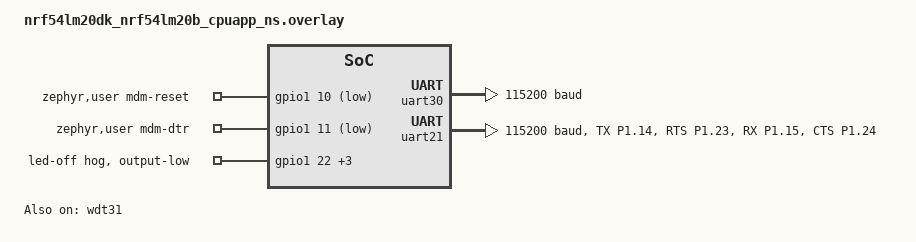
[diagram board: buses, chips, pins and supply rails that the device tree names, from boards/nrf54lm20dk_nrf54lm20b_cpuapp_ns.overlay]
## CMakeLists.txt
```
#
# Copyright (c) 2026 Nordic Semiconductor ASA
#
# SPDX-License-Identifier: LicenseRef-Nordic-5-Clause
#

cmake_minimum_required(VERSION 3.20.0)

find_package(Zephyr REQUIRED HINTS $ENV{ZEPHYR_BASE})
project("Serial Modem Host - 91m1 (AT)")

set(SMHA_LIB_DIR ${CMAKE_CURRENT_SOURCE_DIR}/../../lib)

zephyr_include_directories(
	${SMHA_LIB_DIR}/include
	${CMAKE_CURRENT_SOURCE_DIR}/src
)

target_sources(app PRIVATE
	src/main.c
	src/modem_reset.c
	src/modules/network/network.c
	src/modules/modem_at/modem_at.c
)

target_sources_ifdef(CONFIG_SHELL app PRIVATE src/modules/network/network_shell.c)
target_sources_ifdef(CONFIG_APP_CLOUD app PRIVATE src/modules/cloud/cloud.c)
target_sources_ifdef(CONFIG_APP_LOCATION app PRIVATE src/modules/location/location.c)
target_sources_ifdef(CONFIG_APP_MODEM_POWER app PRIVATE src/modules/modem_power/modem_power.c)
target_sources_ifdef(CONFIG_APP_MODEM_AT_SHELL app PRIVATE src/modules/modem_at/modem_at_shell.c)
target_sources_ifdef(CONFIG_APP_BUTTONS app PRIVATE src/modules/buttons/buttons.c)
target_sources_ifdef(CONFIG_APP_BUTTONS_SHELL app PRIVATE src/modules/buttons/buttons_shell.c)
```

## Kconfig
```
#
# Copyright (c) 2026 Nordic Semiconductor ASA
#
# SPDX-License-Identifier: LicenseRef-Nordic-5-Clause
#

menu "Serial Modem Host 91m1 (AT)"

rsource "src/Kconfig.main"
rsource "src/modules/network/Kconfig.network"
rsource "src/modules/modem_at/Kconfig.modem_at"
rsource "src/modules/modem_power/Kconfig.modem_power"
rsource "src/modules/cloud/Kconfig.cloud"
rsource "src/modules/location/Kconfig.location"
rsource "src/modules/buttons/Kconfig.buttons"

endmenu

menu "Zephyr Kernel"
source "Kconfig.zephyr"
endmenu
```

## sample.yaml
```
sample:
  name: Serial Modem Host 91m1 AT
  description: AT host application for an nRF91 Series Serial Modem.
tests:
  serial_modem_host.applications.91m1_at:
    sysbuild: true
    build_only: true
    integration_platforms:
      - nrf54lm20dk/nrf54lm20b/cpuapp/ns
    platform_allow:
      - nrf54lm20dk/nrf54lm20b/cpuapp/ns
    tags:
      - ci_build
```

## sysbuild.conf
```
#
# Copyright (c) 2026 Nordic Semiconductor ASA
#
# SPDX-License-Identifier: LicenseRef-Nordic-5-Clause
#

SB_CONFIG_BOOTLOADER_MCUBOOT=n
SB_CONFIG_MERGED_HEX_FILES=y
```

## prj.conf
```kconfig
#
# Copyright (c) 2026 Nordic Semiconductor ASA
#
# SPDX-License-Identifier: LicenseRef-Nordic-5-Clause
#

# Application identity
CONFIG_NCS_APPLICATION_BOOT_BANNER_STRING="Serial Modem Host 91m1 (AT)"

# Application modules
CONFIG_APP_NETWORK=y
CONFIG_APP_MODEM_AT=y
CONFIG_APP_MODEM_POWER=y
CONFIG_APP_CLOUD=y
CONFIG_APP_LOCATION=y
CONFIG_APP_BUTTONS=y
CONFIG_APP_MAIN_LOG_LEVEL_DBG=y
CONFIG_APP_NETWORK_LOG_LEVEL_DBG=y
CONFIG_APP_MODEM_AT_LOG_LEVEL_ERR=y
CONFIG_APP_CLOUD_LOG_LEVEL_DBG=y
CONFIG_APP_LOCATION_LOG_LEVEL_DBG=y
CONFIG_APP_BUTTONS_LOG_LEVEL_DBG=y

# System / RTOS
CONFIG_NCS_SAMPLES_DEFAULTS=y
CONFIG_RESET_ON_FATAL_ERROR=n
CONFIG_MAIN_STACK_SIZE=4096
CONFIG_SYSTEM_WORKQUEUE_STACK_SIZE=3072
CONFIG_ZBUS=y
CONFIG_ZBUS_MSG_SUBSCRIBER=y
# Each publish holds one net_buf per message subscriber until it is dequeued. Provisioning
# blocks the cloud thread for minutes while LTE goes down and up, so leave room for the backlog.
CONFIG_ZBUS_MSG_SUBSCRIBER_NET_BUF_POOL_SIZE=64
# Name channels and observers so a delivery failure says which ones were involved.
CONFIG_ZBUS_CHANNEL_NAME=y
CONFIG_ZBUS_OBSERVER_NAME=y
CONFIG_SMF=y
CONFIG_SMF_ANCESTOR_SUPPORT=y
CONFIG_SMF_INITIAL_TRANSITION=y
CONFIG_HEAP_MEM_POOL_SIZE=8192

# Watchdog
CONFIG_TASK_WDT=y
CONFIG_WATCHDOG=y
CONFIG_TASK_WDT_MIN_TIMEOUT=10000

# Logging
CONFIG_LOG=y
CONFIG_LOG_MODE_DEFERRED=y
CONFIG_LOG_BUFFER_SIZE=4096

# Shell
CONFIG_SHELL=y
CONFIG_SHELL_STACK_SIZE=4096
# Off so shell wildcard expansion does not mangle `?`/`*` in AT commands.
CONFIG_SHELL_WILDCARD=n

# Serial Modem link: AT commands over UART and no host IP stack, since with PPP up the
# Serial Modem could not use the default PDN for its own nRF Cloud client.
CONFIG_MODEM_MODULES_LOG_LEVEL_INF=y

# Board peripherals
CONFIG_GPIO=y
```

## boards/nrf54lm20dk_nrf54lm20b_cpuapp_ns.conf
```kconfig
#
# Copyright (c) 2026 Nordic Semiconductor ASA
#
# SPDX-License-Identifier: LicenseRef-Nordic-5-Clause
#

CONFIG_UART_ASYNC_API=y
CONFIG_MODEM_BACKEND_UART_ASYNC_HWFC=y

# Shell/console on uart30 uses interrupt-driven UART; modem on uart21 is async-only.
CONFIG_UART_30_INTERRUPT_DRIVEN=y
CONFIG_UART_21_INTERRUPT_DRIVEN=n
CONFIG_UART_21_ASYNC=y

# Default TF-M configuration
CONFIG_TFM_LOG_LEVEL_SILENCE=y
CONFIG_TFM_SFN=y
CONFIG_TFM_IPC=n
CONFIG_TFM_PSA_FRAMEWORK_HAS_MM_IOVEC=y
CONFIG_TFM_ITS_ENCRYPTED=n
```

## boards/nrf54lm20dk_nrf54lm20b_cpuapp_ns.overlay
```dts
/*
 * Copyright (c) 2026 Nordic Semiconductor ASA
 *
 * SPDX-License-Identifier: LicenseRef-Nordic-5-Clause
 *
 * nRF54LM20B DK + nRF9151 DK.
 *
 * The Serial Modem link uses uart21 on P1.14–P1.15 (TX/RX, P2 connector) and
 * P1.23–P1.24 (RTS/CTS, P3 connector). DTR/reset use P1.11/P1.10 (P2
 * connector). RI (P1.12) is wired but unused, as DTR stays asserted.
 *
 * BUTTON3 is removed, as it is the only button on gpio0. The DK library adds one
 * GPIO callback to every port that has a button, and linking it into both port
 * lists drops the other gpio1 callbacks.
 *
 * Set matching VDD on both DKs (typically 1.8 V).
 *
 * Wiring: see docs/getting-started/ppp-nrf54.md.
 */

/ {
	aliases {
		/delete-property/ sw3;
	};

	chosen {
		zephyr,console = &uart30;
		zephyr,shell-uart = &uart30;
	};

	zephyr,user {
		modem-uart = <&uart21>;
		mdm-reset-gpios = <&gpio1 10 (GPIO_ACTIVE_LOW | GPIO_OPEN_DRAIN)>;
		mdm-dtr-gpios = <&gpio1 11 GPIO_ACTIVE_LOW>;
	};
};

/delete-node/ &button3;

&uart30 {
	status = "okay";
	current-speed = <115200>;
};

&pinctrl {
	uart21_default: uart21_default {
		group1 {
			psels = <NRF_PSEL(UART_TX, 1, 14)>,
				<NRF_PSEL(UART_RTS, 1, 23)>;
		};

		group2 {
			psels = <NRF_PSEL(UART_RX, 1, 15)>,
				<NRF_PSEL(UART_CTS, 1, 24)>;
			bias-pull-up;
		};
	};

	uart21_sleep: uart21_sleep {
		group1 {
			psels = <NRF_PSEL(UART_TX, 1, 14)>,
				<NRF_PSEL(UART_RX, 1, 15)>,
				<NRF_PSEL(UART_RTS, 1, 23)>,
				<NRF_PSEL(UART_CTS, 1, 24)>;
			low-power-enable;
		};
	};
};

&uart21 {
	status = "okay";
	current-speed = <115200>;
	pinctrl-0 = <&uart21_default>;
	pinctrl-1 = <&uart21_sleep>;
	pinctrl-names = "default", "sleep";
	hw-flow-control;
};

&gpio1 {
	status = "okay";

	/* The LEDs are unused. Drive them low instead of leaving the pins floating. */
	led-off {
		gpio-hog;
		gpios = <22 GPIO_ACTIVE_HIGH>, <25 GPIO_ACTIVE_HIGH>,
			<27 GPIO_ACTIVE_HIGH>, <28 GPIO_ACTIVE_HIGH>;
		output-low;
	};
};

/* Non-secure hardware watchdog, fallback for CONFIG_TASK_WDT_HW_FALLBACK. */
&wdt31 {
	status = "okay";
};
```

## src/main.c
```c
/*
 * Copyright (c) 2026 Nordic Semiconductor ASA
 *
 * SPDX-License-Identifier: LicenseRef-Nordic-5-Clause
 */

#include <zephyr/kernel.h>
#include <zephyr/logging/log.h>
#include <zephyr/zbus/zbus.h>
#include <zephyr/task_wdt/task_wdt.h>
#include <zephyr/smf.h>

#include "app_common.h"
#include "modules/network/network.h"
#include "modules/cloud/cloud.h"

#if defined(CONFIG_APP_LOCATION)
#include "modules/location/location.h"
#endif /* CONFIG_APP_LOCATION */

#if defined(CONFIG_APP_BUTTONS)
#include "modules/buttons/buttons.h"
#endif /* CONFIG_APP_BUTTONS */

LOG_MODULE_REGISTER(main, CONFIG_APP_MAIN_LOG_LEVEL);

BUILD_ASSERT(CONFIG_APP_MAIN_WATCHDOG_TIMEOUT_SECONDS >
	     CONFIG_APP_MAIN_MSG_PROCESSING_TIMEOUT_SECONDS,
	     "Watchdog timeout must exceed the maximum message processing time");

#if defined(CONFIG_APP_LOCATION)
#define HAS_SYNC_STEPS 1
#endif

ZBUS_MSG_SUBSCRIBER_DEFINE(main_subscriber);

enum priv_main_msg_type {
	MAIN_PRIV_SYNC,
};

struct priv_main_msg {
	enum priv_main_msg_type type;
};

ZBUS_CHAN_DEFINE(main_priv_chan,
		 struct priv_main_msg,
		 NULL,
		 NULL,
		 ZBUS_OBSERVERS_EMPTY,
		 ZBUS_MSG_INIT(0)
);

#define CHANNEL_LIST(X) \
	X(main_priv_chan, struct priv_main_msg) \
	X(network_chan, struct network_msg) \
	X(cloud_chan, struct cloud_msg) \
	IF_ENABLED(CONFIG_APP_LOCATION, (X(location_chan, struct location_msg))) \
	IF_ENABLED(CONFIG_APP_BUTTONS, (X(button_chan, struct button_msg)))

#define MAX_MSG_SIZE MAX_MSG_SIZE_FROM_LIST(CHANNEL_LIST)

#define ADD_OBSERVERS(_chan, _type) ZBUS_CHAN_ADD_OBS(_chan, main_subscriber, 0);
CHANNEL_LIST(ADD_OBSERVERS)

enum main_app_state {
	STATE_RUNNING,
		STATE_CLOUD_DISCONNECTED,
		STATE_CLOUD_CONNECTED,
			STATE_SYNC_IDLE,
#if defined(HAS_SYNC_STEPS)
			STATE_SYNCING,
#endif /* HAS_SYNC_STEPS */
#if defined(CONFIG_APP_LOCATION)
				STATE_SYNC_LOCATION,
#endif /* CONFIG_APP_LOCATION */
};

#if defined(HAS_SYNC_STEPS)
#define STATE_SYNC_FIRST_STEP STATE_SYNC_LOCATION
#endif /* HAS_SYNC_STEPS */

struct main_state {
	struct smf_ctx ctx;
	const struct zbus_channel *chan;
	uint8_t msg_buf[MAX_MSG_SIZE];
};

static struct main_state main_state;
static const struct smf_state states[];

static void sync_work_handler(struct k_work *work);
static K_WORK_DELAYABLE_DEFINE(sync_work, sync_work_handler);

static void state_running_entry(void *obj);
static enum smf_state_result state_running_run(void *obj);
static void state_cloud_disconnected_entry(void *obj);
static enum smf_state_result state_cloud_disconnected_run(void *obj);
static void state_cloud_connected_entry(void *obj);
static enum smf_state_result state_cloud_connected_run(void *obj);
static void state_cloud_connected_exit(void *obj);
static enum smf_state_result state_sync_idle_run(void *obj);

#if defined(HAS_SYNC_STEPS)
static void state_syncing_entry(void *obj);
static enum smf_state_result state_syncing_run(void *obj);
#endif /* HAS_SYNC_STEPS */

#if defined(CONFIG_APP_LOCATION)
static void state_sync_location_entry(void *obj);
static enum smf_state_result state_sync_location_run(void *obj);
#endif /* CONFIG_APP_LOCATION */

static const struct smf_state states[] = {
	[STATE_RUNNING] =
		SMF_CREATE_STATE(state_running_entry,
				 state_running_run,
				 NULL,
				 NULL,
				 &states[STATE_CLOUD_DISCONNECTED]),
	[STATE_CLOUD_DISCONNECTED] =
		SMF_CREATE_STATE(state_cloud_disconnected_entry,
				 state_cloud_disconnected_run,
				 NULL,
				 &states[STATE_RUNNING],
				 NULL),
	[STATE_CLOUD_CONNECTED] =
		SMF_CREATE_STATE(state_cloud_connected_entry,
				 state_cloud_connected_run,
				 state_cloud_connected_exit,
				 &states[STATE_RUNNING],
				 &states[STATE_SYNC_IDLE]),
	[STATE_SYNC_IDLE] =
		SMF_CREATE_STATE(NULL,
				 state_sync_idle_run,
				 NULL,
				 &states[STATE_CLOUD_CONNECTED],
				 NULL),
#if defined(HAS_SYNC_STEPS)
	[STATE_SYNCING] =
		SMF_CREATE_STATE(state_syncing_entry,
				 state_syncing_run,
				 NULL,
				 &states[STATE_CLOUD_CONNECTED],
				 &states[STATE_SYNC_FIRST_STEP]),
#endif /* HAS_SYNC_STEPS */
#if defined(CONFIG_APP_LOCATION)
	[STATE_SYNC_LOCATION] =
		SMF_CREATE_STATE(state_sync_location_entry,
				 state_sync_location_run,
				 NULL,
				 &states[STATE_SYNCING],
				 NULL),
#endif /* CONFIG_APP_LOCATION */
};

static void sync_schedule(k_timeout_t delay)
{
	int err;

	err = k_work_reschedule(&sync_work, delay);
	if (err < 0) {
		LOG_ERR("k_work_reschedule sync_work, error: %d", err);
		FATAL_ERROR();
	}
}

static void sync_cancel(void)
{
	(void)k_work_cancel_delayable(&sync_work);
}

/* Reschedules itself so the interval holds even when a trigger is ignored during a sync. */
static void sync_work_handler(struct k_work *work)
{
	ARG_UNUSED(work);

	struct priv_main_msg msg = { .type = MAIN_PRIV_SYNC };
	int err;

	err = zbus_chan_pub(&main_priv_chan, &msg, PUB_TIMEOUT);
	if (err) {
		LOG_ERR("zbus_chan_pub main_priv_chan, error: %d", err);
		FATAL_ERROR();
	}

	sync_schedule(K_SECONDS(CONFIG_APP_SYNC_INTERVAL));
}

static void cloud_request(enum cloud_msg_type type)
{
	struct cloud_msg msg = { .type = type };
	int err;

	err = zbus_chan_pub(&cloud_chan, &msg, PUB_TIMEOUT);
	if (err) {
		LOG_ERR("zbus_chan_pub cloud_chan, error: %d", err);
		FATAL_ERROR();
	}
}

#if defined(CONFIG_APP_LOCATION)
static void location_fix_request(void)
{
	struct location_msg msg = { .type = LOCATION_FIX_REQUEST };
	int err;

	err = zbus_chan_pub(&location_chan, &msg, PUB_TIMEOUT);
	if (err) {
		LOG_ERR("zbus_chan_pub location_chan, error: %d", err);
		FATAL_ERROR();
	}
}
#endif /* CONFIG_APP_LOCATION */

#if defined(CONFIG_APP_BUTTONS)
static bool is_sync_button(const struct main_state *state_object)
{
	const struct button_msg *msg = (const struct button_msg *)state_object->msg_buf;

	return state_object->chan == &button_chan && msg->type == BUTTON_1;
}
#endif /* CONFIG_APP_BUTTONS */

static void state_running_entry(void *obj)
{
	ARG_UNUSED(obj);

	LOG_INF("state_running_entry");
}

static enum smf_state_result state_running_run(void *obj)
{
	struct main_state *state_object = obj;

	if (state_object->chan == &network_chan) {
		const struct network_msg *msg = (const struct network_msg *)state_object->msg_buf;

		if (msg->type == NETWORK_CONNECTED) {
			LOG_DBG("Network connected, requesting cloud connection");
			cloud_request(CLOUD_CONNECT);
		} else if (msg->type == NETWORK_DISCONNECTED) {
			LOG_DBG("Network disconnected, releasing cloud connection");
			cloud_request(CLOUD_DISCONNECT);
		} else {
		}

		return SMF_EVENT_HANDLED;
	}

#if defined(CONFIG_APP_BUTTONS)
	if (state_object->chan == &button_chan) {
		const struct button_msg *msg = (const struct button_msg *)state_object->msg_buf;

		LOG_WRN("Button %u: no action defined", msg->type);

		return SMF_EVENT_HANDLED;
	}
#endif /* CONFIG_APP_BUTTONS */

	/* Own requests echoed back on module channels and late completions end up here. */
	return SMF_EVENT_HANDLED;
}

static void state_cloud_disconnected_entry(void *obj)
{
	ARG_UNUSED(obj);

	LOG_INF("state_cloud_disconnected_entry");
	LOG_INF("Cloud disconnected");
}

static enum smf_state_result state_cloud_disconnected_run(void *obj)
{
	struct main_state *state_object = obj;

	if (state_object->chan == &cloud_chan) {
		const struct cloud_msg *msg = (const struct cloud_msg *)state_object->msg_buf;

		if (msg->type == CLOUD_CONNECTED) {
			smf_set_state(SMF_CTX(state_object), &states[STATE_CLOUD_CONNECTED]);

			return SMF_EVENT_HANDLED;
		}
	}

#if defined(CONFIG_APP_BUTTONS)
	if (is_sync_button(state_object)) {
		LOG_INF("Button 1: cloud is disconnected, sync skipped");

		return SMF_EVENT_HANDLED;
	}
#endif /* CONFIG_APP_BUTTONS */

	return SMF_EVENT_PROPAGATE;
}

static void state_cloud_connected_entry(void *obj)
{
	ARG_UNUSED(obj);

	LOG_INF("state_cloud_connected_entry");
	LOG_INF("Cloud connected, first sync in %d s", CONFIG_APP_SYNC_BOOT_DELAY_SECONDS);

	sync_schedule(K_SECONDS(CONFIG_APP_SYNC_BOOT_DELAY_SECONDS));
}

static enum smf_state_result state_cloud_connected_run(void *obj)
{
	struct main_state *state_object = obj;

	if (state_object->chan == &cloud_chan) {
		const struct cloud_msg *msg = (const struct cloud_msg *)state_object->msg_buf;

		if (msg->type == CLOUD_DISCONNECTED) {
			smf_set_state(SMF_CTX(state_object), &states[STATE_CLOUD_DISCONNECTED]);

			return SMF_EVENT_HANDLED;
		}
	}

	return SMF_EVENT_PROPAGATE;
}

static void state_cloud_connected_exit(void *obj)
{
	ARG_UNUSED(obj);

	LOG_INF("state_cloud_connected_exit");

	sync_cancel();
}

static enum smf_state_result state_sync_idle_run(void *obj)
{
	struct main_state *state_object = obj;

	if (state_object->chan == &main_priv_chan) {
		const struct priv_main_msg *msg =
			(const struct priv_main_msg *)state_object->msg_buf;

		if (msg->type == MAIN_PRIV_SYNC) {
			LOG_DBG("Sync tick, next in %d s", CONFIG_APP_SYNC_INTERVAL);
#if defined(HAS_SYNC_STEPS)
			smf_set_state(SMF_CTX(state_object), &states[STATE_SYNCING]);
#endif /* HAS_SYNC_STEPS */

			return SMF_EVENT_HANDLED;
		}
	}

#if defined(CONFIG_APP_BUTTONS)
	if (is_sync_button(state_object)) {
		LOG_INF("Button 1: sync requested");
		sync_schedule(K_NO_WAIT);

		return SMF_EVENT_HANDLED;
	}
#endif /* CONFIG_APP_BUTTONS */

	return SMF_EVENT_PROPAGATE;
}

#if defined(HAS_SYNC_STEPS)
static void state_syncing_entry(void *obj)
{
	ARG_UNUSED(obj);

	LOG_DBG("state_syncing_entry");
}

static enum smf_state_result state_syncing_run(void *obj)
{
	struct main_state *state_object = obj;

	if (state_object->chan == &main_priv_chan) {
		LOG_WRN("Sync requested while a sync is running, ignoring");

		return SMF_EVENT_HANDLED;
	}

#if defined(CONFIG_APP_BUTTONS)
	if (is_sync_button(state_object)) {
		LOG_INF("Button 1: sync is running, sync skipped");

		return SMF_EVENT_HANDLED;
	}
#endif /* CONFIG_APP_BUTTONS */

	return SMF_EVENT_PROPAGATE;
}
#endif /* HAS_SYNC_STEPS */

#if defined(CONFIG_APP_LOCATION)
static void state_sync_location_entry(void *obj)
{
	ARG_UNUSED(obj);

	LOG_DBG("state_sync_location_entry");

	location_fix_request();
}

static enum smf_state_result state_sync_location_run(void *obj)
{
	struct main_state *state_object = obj;

	if (state_object->chan == &location_chan) {
		const struct location_msg *msg =
			(const struct location_msg *)state_object->msg_buf;

		if (msg->type == LOCATION_FIX_DONE) {
			smf_set_state(SMF_CTX(state_object), &states[STATE_SYNC_IDLE]);

			return SMF_EVENT_HANDLED;
		}
	}

	return SMF_EVENT_PROPAGATE;
}
#endif /* CONFIG_APP_LOCATION */

static void main_wdt_callback(int channel_id, void *user_data)
{
	LOG_ERR("Main watchdog expired, channel: %d, thread: %s",
		channel_id, k_thread_name_get((k_tid_t)user_data));

	FATAL_ERROR_WATCHDOG_TIMEOUT();
}

int main(void)
{
	int err;
	int task_wdt_id;
	const uint32_t wdt_timeout_ms =
		(CONFIG_APP_MAIN_WATCHDOG_TIMEOUT_SECONDS * MSEC_PER_SEC);
	const uint32_t execution_time_ms =
		(CONFIG_APP_MAIN_MSG_PROCESSING_TIMEOUT_SECONDS * MSEC_PER_SEC);
	const k_timeout_t zbus_wait = K_MSEC(wdt_timeout_ms - execution_time_ms);

	err = task_wdt_init(DEVICE_DT_GET(DT_ALIAS(watchdog0)));
	if (err) {
		LOG_ERR("task_wdt_init, error: %d", err);
		FATAL_ERROR();
		return -EFAULT;
	}

	task_wdt_id = task_wdt_add(wdt_timeout_ms, main_wdt_callback, (void *)k_current_get());
	if (task_wdt_id < 0) {
		LOG_ERR("task_wdt_add, error: %d", task_wdt_id);
		FATAL_ERROR();
		return -EFAULT;
	}

	smf_set_initial(SMF_CTX(&main_state), &states[STATE_RUNNING]);

	while (true) {
		err = task_wdt_feed(task_wdt_id);
		if (err) {
			LOG_ERR("task_wdt_feed, error: %d", err);
			FATAL_ERROR();
			return -EFAULT;
		}

		err = zbus_sub_wait_msg(&main_subscriber, &main_state.chan,
					main_state.msg_buf, zbus_wait);
		if (err == -ENOMSG) {
			continue;
		} else if (err) {
			LOG_ERR("zbus_sub_wait_msg, error: %d", err);
			FATAL_ERROR();
			return -EFAULT;
		}

		err = smf_run_state(SMF_CTX(&main_state));
		if (err) {
			LOG_ERR("smf_run_state, error: %d", err);
			FATAL_ERROR();
			return -EFAULT;
		}
	}

	return 0;
}
```

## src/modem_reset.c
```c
/*
 * Copyright (c) 2026 Nordic Semiconductor ASA
 *
 * SPDX-License-Identifier: LicenseRef-Nordic-5-Clause
 */

#include <zephyr/devicetree.h>
#include <zephyr/drivers/gpio.h>
#include <zephyr/init.h>
#include <zephyr/kernel.h>

#include "app_common.h"

#define MODEM_NODE DT_PATH(zephyr_user)

#if DT_NODE_HAS_PROP(MODEM_NODE, mdm_reset_gpios)

#define MODEM_RESET_PULSE_MS 500
#define MODEM_STARTUP_TIME_MS 2000

static int modem_reset_on_host_boot(void)
{
	const struct gpio_dt_spec reset = GPIO_DT_SPEC_GET(MODEM_NODE, mdm_reset_gpios);
	int err;

	if (!gpio_is_ready_dt(&reset)) {
		FATAL_ERROR();
		return -ENODEV;
	}

	err = gpio_pin_configure_dt(&reset, GPIO_OUTPUT_INACTIVE);
	if (err != 0) {
		FATAL_ERROR();
		return err;
	}

	gpio_pin_set_dt(&reset, 1);
	k_msleep(MODEM_RESET_PULSE_MS);
	gpio_pin_set_dt(&reset, 0);
	k_msleep(MODEM_STARTUP_TIME_MS);

	return 0;
}

SYS_INIT(modem_reset_on_host_boot, POST_KERNEL, 50);

#endif
```
